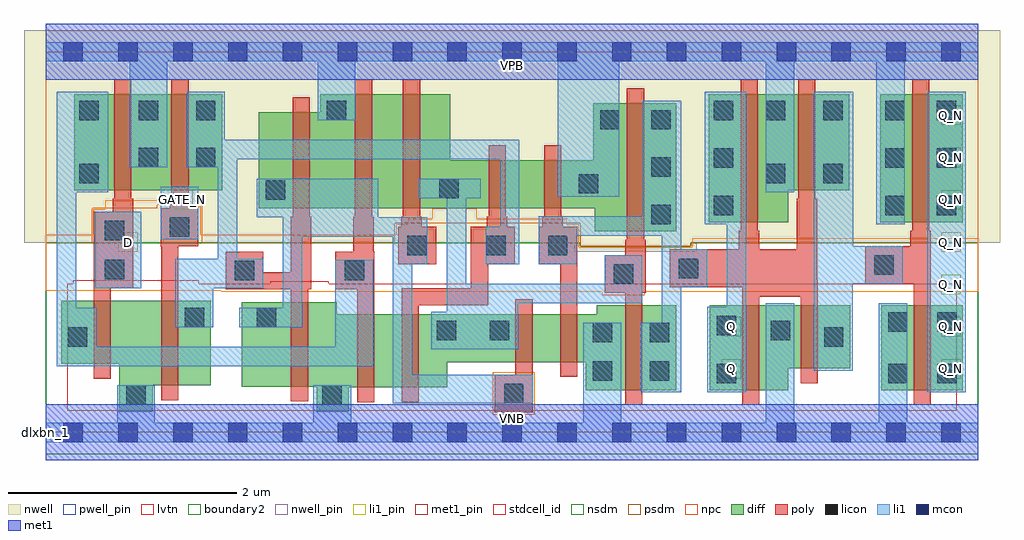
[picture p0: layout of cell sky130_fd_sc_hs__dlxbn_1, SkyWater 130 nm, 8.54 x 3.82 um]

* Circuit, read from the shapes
.subckt sky130_fd_sc_hs__dlxbn_1 D GATE_N Q Q_N VGND VNB VPB VPWR
XM1 VGND D n1 VNB sky130_fd_pr__nfet_01v8_lvt w=0.55 l=0.15
XM2 n2 GATE_N VGND VNB sky130_fd_pr__nfet_01v8_lvt w=0.74 l=0.15
XM3 VGND n2 n3 VNB sky130_fd_pr__nfet_01v8_lvt w=0.74 l=0.15
XM4 n4 n1 VGND VNB sky130_fd_pr__nfet_01v8_lvt w=0.64 l=0.15
XM5 n5 n2 n4 VNB sky130_fd_pr__nfet_01v8_lvt w=0.64 l=0.15
XM6 n6 n3 n5 VNB sky130_fd_pr__nfet_01v8_lvt w=0.42 l=0.15
XM7 VGND n7 n6 VNB sky130_fd_pr__nfet_01v8_lvt w=0.42 l=0.15
XM8 n7 n5 VGND VNB sky130_fd_pr__nfet_01v8_lvt w=0.74 l=0.15
XM9 VGND n7 Q VNB sky130_fd_pr__nfet_01v8_lvt w=0.74 l=0.15
XM10 n8 n7 VGND VNB sky130_fd_pr__nfet_01v8_lvt w=0.55 l=0.15
XM11 Q_N n8 VGND VNB sky130_fd_pr__nfet_01v8_lvt w=0.74 l=0.15
XM12 VPWR D n1 VPB sky130_fd_pr__pfet_01v8 w=0.84 l=0.15
XM13 n2 GATE_N VPWR VPB sky130_fd_pr__pfet_01v8 w=0.84 l=0.15
XM14 VPWR n2 n3 VPB sky130_fd_pr__pfet_01v8 w=0.84 l=0.15
XM15 n9 n1 VPWR VPB sky130_fd_pr__pfet_01v8 w=1 l=0.15
XM16 n5 n3 n9 VPB sky130_fd_pr__pfet_01v8 w=1 l=0.15
XM17 n10 n2 n5 VPB sky130_fd_pr__pfet_01v8 w=0.42 l=0.15
XM18 VPWR n7 n10 VPB sky130_fd_pr__pfet_01v8 w=0.42 l=0.15
XM19 n7 n5 VPWR VPB sky130_fd_pr__pfet_01v8 w=1.12 l=0.15
XM20 VPWR n7 Q VPB sky130_fd_pr__pfet_01v8 w=1.12 l=0.15
XM21 n8 n7 VPWR VPB sky130_fd_pr__pfet_01v8 w=0.84 l=0.15
XM22 Q_N n8 VPWR VPB sky130_fd_pr__pfet_01v8 w=1.12 l=0.15
.ends

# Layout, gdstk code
import gdstk
lib = gdstk.Library(unit=1e-6, precision=1e-09)
def R(c, l, rs):  # rectangles x0, y0, x1, y1
    for r in rs: c.add(gdstk.rectangle(r[:2], r[2:], *l))
def A(c, l, x, y, w, h, nx, ny, dx, dy):  # array of equal rectangles
    R(c, l, [(x+i*dx, y+j*dy, x+i*dx+w, y+j*dy+h) for i in range(nx) for j in range(ny)])
def P(c, l, *ps):  # polygons
    for p in ps: c.add(gdstk.Polygon(p, *l))
nwell_pin = (64, 16)
nwell = (64, 20)
diff = (65, 20)
poly = (66, 20)
licon = (66, 44)
li1_pin = (67, 16)
li1 = (67, 20)
mcon = (67, 44)
met1_pin = (68, 16)
met1 = (68, 20)
stdcell_id = (81, 4)
nsdm = (93, 44)
psdm = (94, 20)
npc = (95, 20)
pwell_pin = (122, 16)
lvtn = (125, 44)
boundary2 = (236, 0)

sky130_fd_sc_hs__dlxbn_1 = lib.new_cell('sky130_fd_sc_hs__dlxbn_1')
R(sky130_fd_sc_hs__dlxbn_1, nwell_pin, [(0,3.085,8.16,3.33)])
P(sky130_fd_sc_hs__dlxbn_1, nwell, [(8.35,3.52),(-0.19,3.52),(-0.19,1.66),(4.625,1.66),(4.625,1.58),(5.695,1.58),(5.695,1.66),(8.35,1.66)])
R(sky130_fd_sc_hs__dlxbn_1, diff, [(7.31,0.37,8.025,1.11), (7.3,1.84,8.025,2.96), (0.25,2.12,1.545,2.96)])
P(sky130_fd_sc_hs__dlxbn_1, diff, [(1.445,1.15),(0.135,1.15),(0.135,0.6),(0.645,0.6),(0.645,0.18),(0.935,0.18),(0.935,0.41),(1.445,0.41)],
  [(5.515,2.88),(4.79,2.88),(4.79,2.38),(3.54,2.38),(3.54,2.96),(2.4,2.96),(2.4,2.8),(1.865,2.8),(1.865,1.96),(4.805,1.96),(4.805,1.76),(5.515,1.76)],
  [(5.515,1.11),(4.82,1.11),(4.82,1.035),(2.545,1.035),(2.545,1.14),(1.715,1.14),(1.715,0.4),(2.37,0.4),(2.37,0.18),(2.65,0.18),(2.65,0.395),(3.515,0.395),(3.515,0.615),(4.725,0.615),(4.725,0.37),(5.515,0.37)],
  [(7.03,2.96),(5.8,2.96),(5.8,1.84),(6.495,1.84),(6.495,2.12),(7.03,2.12)],
  [(7.04,1.11),(5.81,1.11),(5.81,0.37),(6.495,0.37),(6.495,0.56),(7.04,0.56)])
P(sky130_fd_sc_hs__dlxbn_1, poly, [(7.745,1.765),(7.73,1.765),(7.73,3.09),(7.58,3.09),(7.58,1.765),(7.565,1.765),(7.565,1.63),(7.17,1.63),(7.17,1.3),(7.595,1.3),(7.595,0.24),(7.745,0.24)],
  [(6.755,1.335),(6.75,1.335),(6.75,2.045),(6.735,2.045),(6.735,3.09),(6.585,3.09),(6.585,2.045),(6.57,2.045),(6.57,1.6),(6.245,1.6),(6.245,1.765),(6.23,1.765),(6.23,3.09),(6.08,3.09),(6.08,1.765),(6.065,1.765),(6.065,1.6),(5.46,1.6),(5.46,1.27),(6.095,1.27),(6.095,0.24),(6.245,0.24),(6.245,1.185),(6.605,1.185),(6.605,0.43),(6.755,0.43)],
  [(5.25,1.685),(5.235,1.685),(5.235,3.01),(5.085,3.01),(5.085,1.685),(5.07,1.685),(5.07,1.55),(4.89,1.55),(4.89,1.22),(5.07,1.22),(5.07,0.24),(5.22,0.24),(5.22,1.22),(5.25,1.22)],
  [(4.65,1.8),(4.525,1.8),(4.525,1.885),(4.51,1.885),(4.51,2.51),(4.36,2.51),(4.36,1.885),(4.345,1.885),(4.345,1.8),(4.315,1.8),(4.315,1.47),(4.5,1.47),(4.5,0.485),(4.65,0.485)],
  [(4.26,1.165),(4.11,1.165),(4.11,0.505),(3.93,0.505),(3.93,0.175),(4.26,0.175)],
  [(4.105,1.8),(4.04,1.8),(4.04,1.885),(4.025,1.885),(4.025,2.51),(3.875,2.51),(3.875,1.885),(3.86,1.885),(3.86,1.8),(3.72,1.8),(3.72,1.26),(3.115,1.26),(3.115,0.265),(3.265,0.265),(3.265,1.11),(3.87,1.11),(3.87,1.47),(4.105,1.47)],
  [(3.415,1.8),(3.29,1.8),(3.29,1.885),(3.275,1.885),(3.275,3.09),(3.125,3.09),(3.125,1.885),(3.11,1.885),(3.11,1.8),(3.085,1.8),(3.085,1.47),(3.415,1.47)],
  [(2.875,1.58),(2.87,1.58),(2.87,1.885),(2.855,1.885),(2.855,3.09),(2.705,3.09),(2.705,1.885),(2.69,1.885),(2.69,1.58),(2.535,1.58),(2.535,1.25),(2.725,1.25),(2.725,0.265),(2.875,0.265)],
  [(2.325,1.885),(2.31,1.885),(2.31,2.93),(2.16,2.93),(2.16,1.885),(2.145,1.885),(2.145,1.4),(1.905,1.4),(1.905,1.58),(1.575,1.58),(1.575,1.25),(2.145,1.25),(2.145,0.27),(2.295,0.27),(2.295,1.25),(2.325,1.25)],
  [(1.335,1.96),(1.265,1.96),(1.265,2.045),(1.25,2.045),(1.25,3.09),(1.1,3.09),(1.1,2.045),(1.085,2.045),(1.085,1.96),(1.005,1.96),(1.005,1.63),(1.01,1.63),(1.01,0.28),(1.16,0.28),(1.16,1.63),(1.335,1.63)],
  [(0.765,2.045),(0.75,2.045),(0.75,3.09),(0.6,3.09),(0.6,2.045),(0.585,2.045),(0.585,1.93),(0.42,1.93),(0.42,0.47),(0.57,0.47),(0.57,1.26),(0.765,1.26)])
A(sky130_fd_sc_hs__dlxbn_1, licon, 5.3, 1.82, 0.17, 0.17, 1, 3, 0, 0.415)
A(sky130_fd_sc_hs__dlxbn_1, licon, 5.845, 1.9, 0.17, 0.17, 1, 3, 0, 0.415)
A(sky130_fd_sc_hs__dlxbn_1, licon, 7.345, 1.9, 0.17, 0.17, 1, 3, 0, 0.415)
A(sky130_fd_sc_hs__dlxbn_1, licon, 7.795, 1.9, 0.17, 0.17, 1, 3, 0, 0.415)
R(sky130_fd_sc_hs__dlxbn_1, licon, [(0.705,0.24,0.875,0.41), (2.42,0.24,2.59,0.41), (4.01,0.255,4.18,0.425), (5.87,0.43,6.04,0.6), (7.37,0.43,7.54,0.6), (7.8,0.43,7.97,0.6), (4.785,0.45,4.955,0.62), (5.285,0.45,5.455,0.62), (0.195,0.75,0.365,0.92), (6.81,0.75,6.98,0.92), (4.785,0.79,4.955,0.96), (5.285,0.79,5.455,0.96), (3.42,0.805,3.59,0.975), (3.885,0.805,4.055,0.975), (6.345,0.805,6.515,0.975), (5.87,0.85,6.04,1.02), (7.37,0.88,7.54,1.05), (7.8,0.88,7.97,1.05), (1.215,0.92,1.385,1.09), (1.845,0.92,2.015,1.09), (4.97,1.3,5.14,1.47), (1.655,1.33,1.825,1.5), (2.615,1.33,2.785,1.5), (0.515,1.34,0.685,1.51), (5.54,1.35,5.71,1.52), (7.25,1.38,7.42,1.55), (3.165,1.55,3.335,1.72), (3.855,1.55,4.025,1.72), (4.395,1.55,4.565,1.72), (0.515,1.68,0.685,1.85), (1.085,1.71,1.255,1.88), (1.925,2.035,2.095,2.205), (3.445,2.05,3.615,2.22), (4.665,2.09,4.835,2.26), (0.295,2.18,0.465,2.35), (6.3,2.18,6.47,2.35), (6.805,2.18,6.975,2.35), (0.815,2.32,0.985,2.49), (1.315,2.32,1.485,2.49), (4.85,2.65,5.02,2.82), (0.295,2.73,0.465,2.9), (0.815,2.73,0.985,2.9), (1.315,2.73,1.485,2.9), (2.46,2.73,2.63,2.9), (6.3,2.73,6.47,2.9), (6.805,2.73,6.975,2.9)])
A(sky130_fd_sc_hs__dlxbn_1, li1_pin, 7.835, 0.47, 0.17, 0.17, 1, 7, 0, 0.37)
R(sky130_fd_sc_hs__dlxbn_1, li1_pin, [(5.915,0.47,6.085,0.64), (5.915,0.84,6.085,1.01), (0.635,1.58,0.805,1.75), (1.115,1.95,1.285,2.12)])
R(sky130_fd_sc_hs__dlxbn_1, li1, [(7.715,0.35,8.05,2.98), (0.435,1.26,0.835,1.93), (1.005,1.69,1.335,2.15)])
P(sky130_fd_sc_hs__dlxbn_1, li1, [(0,-0.085),(0,0.085),(0.625,0.085),(0.625,0.41),(0.955,0.41),(0.955,0.085),(2.34,0.085),(2.34,0.41),(2.675,0.41),(2.675,0.085),(4.705,0.085),(4.705,0.96),(5.035,0.96),(5.035,0.085),(6.3,0.085),(6.3,1.13),(6.55,1.13),(6.55,0.085),(7.29,0.085),(7.29,1.13),(7.54,1.13),(7.54,0.085),(8.16,0.085),(8.16,-0.085)],
  [(0,3.245),(0,3.415),(8.16,3.415),(8.16,3.245),(7.515,3.245),(7.515,1.82),(7.265,1.82),(7.265,3.245),(6.55,3.245),(6.55,2.1),(6.3,2.1),(6.3,3.245),(5.02,3.245),(5.02,2.06),(4.48,2.06),(4.48,3.245),(2.71,3.245),(2.71,2.73),(2.38,2.73),(2.38,3.245),(1.065,3.245),(1.065,2.32),(0.735,2.32),(0.735,3.245)],
  [(5.79,0.35),(5.79,1.1),(5.96,1.1),(5.96,1.82),(5.765,1.82),(5.765,2.98),(6.13,2.98),(6.13,0.35)],
  [(3.375,0.725),(3.375,1.055),(3.51,1.055),(3.51,2.05),(3.26,2.05),(3.26,2.22),(3.805,2.22),(3.805,2.05),(3.68,2.05),(3.68,1.3),(4.89,1.3),(4.89,1.55),(5.22,1.55),(5.22,1.13),(4.135,1.13),(4.135,0.725)],
  [(0.095,0.58),(0.095,2.98),(0.545,2.98),(0.545,2.1),(0.265,2.1),(0.265,1.09),(0.445,1.09),(0.445,0.75),(2.535,0.75),(2.535,1.51),(2.865,1.51),(2.865,0.58)],
  [(6.72,0.54),(6.72,2.98),(7.065,2.98),(7.065,1.63),(7.5,1.63),(7.5,1.3),(7.06,1.3),(7.06,0.54)],
  [(4.645,1.72),(4.645,1.47),(4.315,1.47),(4.315,1.89),(5.22,1.89),(5.22,2.9),(5.56,2.9),(5.56,1.6),(5.79,1.6),(5.79,1.27),(5.56,1.27),(5.56,0.35),(5.205,0.35),(5.205,0.96),(5.39,0.96),(5.39,1.72)],
  [(1.565,2.56),(4.145,2.56),(4.145,1.47),(3.85,1.47),(3.85,1.8),(3.975,1.8),(3.975,2.39),(1.675,2.39),(1.675,1.52),(1.905,1.52),(1.905,1.26),(1.465,1.26),(1.465,0.92),(1.135,0.92),(1.135,1.52),(1.505,1.52),(1.505,2.32),(1.235,2.32),(1.235,2.98),(1.565,2.98)],
  [(3.035,0.255),(3.035,1.71),(2.245,1.71),(2.245,0.92),(1.695,0.92),(1.695,1.09),(2.075,1.09),(2.075,1.88),(1.845,1.88),(1.845,2.22),(2.91,2.22),(2.91,1.88),(3.34,1.88),(3.34,1.47),(3.205,1.47),(3.205,0.505),(4.26,0.505),(4.26,0.255)])
A(sky130_fd_sc_hs__dlxbn_1, mcon, 0.155, -0.085, 0.17, 0.17, 17, 2, 0.48, 3.33)
R(sky130_fd_sc_hs__dlxbn_1, met1_pin, [(0,0,8.16,0.245), (0,3.085,8.16,3.33)])
R(sky130_fd_sc_hs__dlxbn_1, met1, [(0,-0.245,8.16,0.245), (0,3.085,8.16,3.575)])
R(sky130_fd_sc_hs__dlxbn_1, stdcell_id, [(0,0,8.16,3.33)])
P(sky130_fd_sc_hs__dlxbn_1, nsdm, [(8.16,1.66),(5.645,1.66),(5.645,1.63),(4.675,1.63),(4.675,1.66),(0,1.66),(0,-0.19),(8.16,-0.19)])
P(sky130_fd_sc_hs__dlxbn_1, psdm, [(8.16,3.52),(0,3.52),(0,1.66),(0.405,1.66),(0.405,1.96),(0.975,1.96),(0.975,1.99),(1.365,1.99),(1.365,1.66),(3.055,1.66),(3.055,1.83),(4.675,1.83),(4.675,1.63),(5.645,1.63),(5.645,1.66),(8.16,1.66)])
R(sky130_fd_sc_hs__dlxbn_1, npc, [(3.91,0.155,4.28,0.525)])
P(sky130_fd_sc_hs__dlxbn_1, npc, [(8.16,1.7),(5.655,1.7),(5.655,1.62),(4.665,1.62),(4.665,1.82),(4.56,1.82),(4.56,1.87),(3.77,1.87),(3.77,1.96),(3.38,1.96),(3.38,1.87),(3.17,1.87),(3.17,1.82),(3.065,1.82),(3.065,1.73),(1.355,1.73),(1.355,1.98),(1.25,1.98),(1.25,2.03),(0.52,2.03),(0.52,1.95),(0.415,1.95),(0.415,1.73),(0,1.73),(0,1.24),(1.535,1.24),(1.535,1.23),(4.87,1.23),(4.87,1.2),(5.24,1.2),(5.24,1.23),(8.16,1.23)])
R(sky130_fd_sc_hs__dlxbn_1, pwell_pin, [(0,0,8.16,0.245)])
P(sky130_fd_sc_hs__dlxbn_1, lvtn, [(7.97,1.3),(2.475,1.3),(2.475,1.32),(1.965,1.32),(1.965,1.3),(1.34,1.3),(1.34,1.33),(0.24,1.33),(0.24,1.3),(0.19,1.3),(0.19,0.19),(7.97,0.19)])
R(sky130_fd_sc_hs__dlxbn_1, boundary2, [(0,0,8.16,3.33)])
sky130_fd_sc_hs__dlxbn_1.add(gdstk.Label('dlxbn_1', (0,0), layer=83, texttype=44))
sky130_fd_sc_hs__dlxbn_1.add(gdstk.Label('VNB', (4.08,0.123), layer=64, texttype=59))
sky130_fd_sc_hs__dlxbn_1.add(gdstk.Label('VPB', (4.08,3.208), layer=64, texttype=5))
sky130_fd_sc_hs__dlxbn_1.add(gdstk.Label('VPWR', (4.08,3.208), layer=68, texttype=5))
sky130_fd_sc_hs__dlxbn_1.add(gdstk.Label('VGND', (4.08,0.123), layer=68, texttype=5))
sky130_fd_sc_hs__dlxbn_1.add(gdstk.Label('D', (0.72,1.665), layer=67, texttype=5))
sky130_fd_sc_hs__dlxbn_1.add(gdstk.Label('Q_N', (7.92,0.555), layer=67, texttype=5))
sky130_fd_sc_hs__dlxbn_1.add(gdstk.Label('Q_N', (7.92,0.925), layer=67, texttype=5))
sky130_fd_sc_hs__dlxbn_1.add(gdstk.Label('Q_N', (7.92,1.295), layer=67, texttype=5))
sky130_fd_sc_hs__dlxbn_1.add(gdstk.Label('Q_N', (7.92,1.665), layer=67, texttype=5))
sky130_fd_sc_hs__dlxbn_1.add(gdstk.Label('Q_N', (7.92,2.035), layer=67, texttype=5))
sky130_fd_sc_hs__dlxbn_1.add(gdstk.Label('Q_N', (7.92,2.405), layer=67, texttype=5))
sky130_fd_sc_hs__dlxbn_1.add(gdstk.Label('Q_N', (7.92,2.775), layer=67, texttype=5))
sky130_fd_sc_hs__dlxbn_1.add(gdstk.Label('Q', (6,0.555), layer=67, texttype=5))
sky130_fd_sc_hs__dlxbn_1.add(gdstk.Label('Q', (6,0.925), layer=67, texttype=5))
sky130_fd_sc_hs__dlxbn_1.add(gdstk.Label('GATE_N', (1.2,2.035), layer=67, texttype=5))

lib.write_gds('sky130_fd_sc_hs__dlxbn_1.gds')
